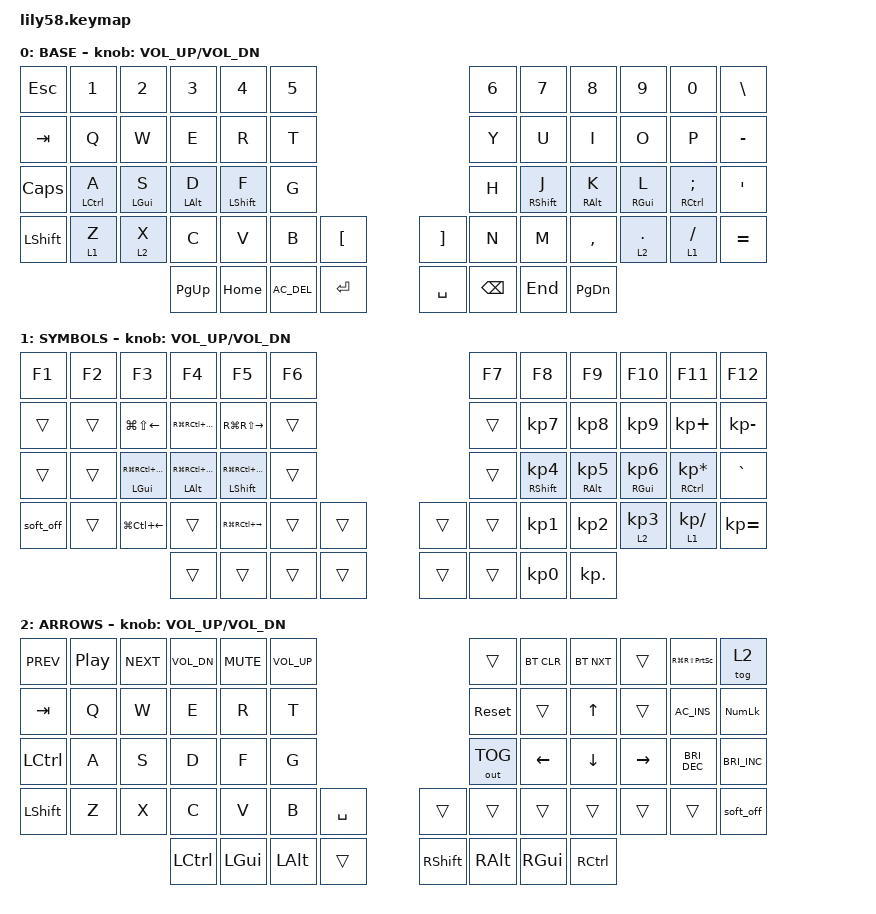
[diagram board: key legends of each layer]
/*
 * Copyright (c) 2020 The ZMK Contributors
 *
 * SPDX-License-Identifier: MIT
 */

#include <behaviors.dtsi>
#include <dt-bindings/zmk/keys.h>
#include <dt-bindings/zmk/bt.h>
#include <dt-bindings/zmk/ext_power.h>
#include <dt-bindings/zmk/outputs.h>

&soft_off {
    hold-time-ms = <2000>; // Only turn off it the key is held for 2 seconds or longer.
};

/ {
//    sensors {
//        compatible = "zmk,keymap-sensors";
//        sensors = <&left_encoder &right_encoder>;
//        triggers-per-rotation = <20>;
//    };
    behaviors {
        rpi: require_prior_idle {
            compatible = "zmk,behavior-hold-tap";
            #binding-cells = <2>;
            flavor = "tap-preferred";
            tapping-term-ms = <200>;
            quick-tap-ms = <200>;
            require-prior-idle-ms = <125>;
            bindings = <&kp>, <&kp>;
        };
    };

    combos {
        compatible = "zmk,combos";
        combo_symbols {
            timeout-ms = <50>;
            key-positions = <53 42>;
            bindings = <&tog 1>;
        };
        combo_arrows {
            timeout-ms = <50>;
            key-positions = <54 43>;
            bindings = <&tog 2>;
        };
    };

    keymap {
        compatible = "zmk,keymap";

        default_layer {
            display-name = "BASE";
            bindings = <
// |--------------------------------------------------------------------------|                         |---------------------------------------------------------------------------|
// |  ESC    |  1         |  2         |  3        |  4          |     5      |                         |  6       |    7       |  8        |  9         |   0          |    "\"    |
     &kp ESC     &kp N1     &kp N2       &kp N3       &kp N4         &kp N5                               &kp N6       &kp N7      &kp N8     &kp N9       &kp N0          &kp BSLH
// |---------|------------|------------|-----------|-------------|------------|                         |----------|------------|-----------|------------|--------------|-----------|
// |  TAB    |  Q         |  W         |  E        |  R          |     T      |                         |  Y       |    U       |  I        |  O         |   P          |    -      |
     &kp TAB   &kp Q        &kp W        &kp E       &kp R           &kp T                                &kp Y        &kp U      &kp I         &kp O        &kp P        &kp MINUS
// |---------|------------|------------|-----------|-------------|------------|                         |----------|------------|-----------|------------|--------------|-----------|
// |  CAPS   |  A & Ctrl  |  S & Super |  D & Alt  |  F & SHIFT  |     G      |                         |  H       |  J & SHIFT |  K & Alt  |  L & Super |   ; & Ctrl   |    '      |
    &kp CAPS  &rpi LCTRL A &rpi LGUI S  &rpi LALT D &rpi LSHIFT F    &kp G                                &kp H    &rpi RSHIFT J &rpi RALT K &rpi RGUI L  &rpi RCTRL SEMI &kp SQT
// |---------|------------|------------|-----------|-------------|------------|------------| |----------|----------|------------|-----------|------------|--------------|-----------|
// |  SHIFT  | Z & Lower  |  X & Upper |  C        |  V          |     B      |     "["    | |    "]"   |  N       |    M       |     ,     |  . & Upper |   / & Lower  |    =      |
   &kp LSHIFT  &lt 1 Z       &lt 2 X      &kp C         &kp V        &kp B       &kp LBKT      &kp RBKT   &kp N        &kp M     &kp COMMA    &lt 2 DOT    &lt 1 FSLH    &kp EQUAL
// |-----------------------------------|-----------|-------------|------------|------------| |----------|----------|------------|-----------|------------|--------------|-----------|
//                                     |  Page Up  |    HOME     |   DELETE   |   Enter    | |   SPACE  | BACKSPACE|   END    |  Page Down  |
                                         &kp PG_UP     &kp HOME   &kp C_AC_DEL   &kp RET      &kp SPACE   &kp BSPC   &kp END    &kp PG_DN
//                                     |---------------------------------------------------| |----------------------------------------------|
            >;

            sensor-bindings = <&inc_dec_kp C_VOL_UP C_VOL_DN>;
        };

        lower_layer {
            display-name = "SYMBOLS";
            bindings = <
// |----------------------------------------------------------------------------------------------------|                    |-----------------------------------------------------------------------------------------------------|
// |   F1    |  F2  |            F3            |           F4             |      F5         |    F6     |                    |     F7      |         F8         |      F9       |      F10      |       F11      |       F12       |
     &kp F1   &kp F2          &kp F3                     &kp F4                &kp F5           &kp F6                          &kp F7           &kp F8             &kp F9          &kp F10          &kp F11          &kp F12
// |---------|------|--------------------------|--------------------------|-----------------|-----------|                    |-------------|--------------------|---------------|---------------|----------------|-----------------|
// |         |      |      MV APP LEFT         |       MV WKSPC UP        |  MV APP RIGHT   |           |                    |             |         7          |       8       |       9       |      "+"       |       "-"       |
      &trans  &trans    &kp LG(LS(LEFT))            &kp RG(RC(RS(UP)))     &kp RG(RS(RIGHT))   &trans                           &trans          &kp KP_N7       &kp KP_N8        &kp KP_N9       &kp KP_PLUS      &kp KP_MINUS
// |---------|------|--------------------------|--------------------------|-----------------|-----------|                    |-------------|--------------------|---------------|---------------|----------------|-----------------|
// |         |      |      MV WKSPC LEFT       |      MV WKSPC DOWN       | MV WKSPC RIGHT  |           |                    |             |         4          |       5       |       6       |      "*"       |       "`"       |
      &trans  &trans &rpi LGUI RG(RC(RS(LEFT))) &rpi LALT RG(RC(RS(DOWN))) &rpi LSHIFT RG(RC(RS(RIGHT))) &trans                 &trans      &rpi RSHIFT KP_N4   &rpi RALT KP_N5 &rpi RGUI KP_N6  &rpi RCTRL KP_MULTIPLY &kp GRAVE
// |---------|------|--------------------------|--------------------------|-----------------|-----------|--------|  |--------|-------------|--------------------|---------------|---------------|----------------|-----------------|
// | SFT OFF |      |         PREV WKSPC       |                          |    NEXT WKSPC   |           |        |  |        |             |         1          |      2        |      3        |       "/"      |       "="       |
    &soft_off &trans      &kp LG(LC(LEFT))               &trans            &kp RG(RC(RIGHT))   &trans     &trans      &trans    &trans           &kp KP_N1         &kp KP_N2       &lt 2 KP_N3   &lt 1 KP_DIVIDE     &kp KP_EQUAL
// |---------|------|--------------------------|--------------------------|-----------------|-----------|--------|  |--------|-------------|--------------------|---------------|---------------|----------------|-----------------|
//                                             |                          |                 |           |        |  |        |             |          0         |      "."      |
                                                         &trans                 &trans         &trans    &trans      &trans     &trans           &kp KP_N0        &kp KP_DOT
//                                             |-----------------------------------------------------------------|  |-----------------------------------------------------------|
            >;

            sensor-bindings = <&inc_dec_kp C_VOL_UP C_VOL_DN>;
        };

        raise_layer {
            display-name = "ARROWS";
            bindings = <
// |------------------------------------------------------------------------------------|                       |--------------------------------------------------------------------------------------|
// | MediaBack |   MediaPause   |   MediaFwd   |   Volume-    |    Mute    |   Volume+  |                       |            | Clear BT |   BTNEXT  |           |      SCREENSHOT       |    RAISE     |
    &kp C_PREV  &kp C_PLAY_PAUSE   &kp C_NEXT    &kp C_VOL_DN   &kp C_MUTE  &kp C_VOL_UP                            &trans    &bt BT_CLR  &bt BT_NXT   &trans    &kp RG(RS(PRINTSCREEN))     &tog 2
// |-----------|----------------|--------------|--------------|------------|------------|                       |------------|----------|-----------|-----------|-----------------------|--------------|
// |    TAB    |       Q        |     W        |      E       |     R      |     T      |                       |   RESET    |          |    "^"    |           |         INS           |    NUMLOCK   |
      &kp TAB       &kp Q            &kp W          &kp E         &kp R         &kp T                             &sys_reset   &trans      &kp UP      &trans          &kp C_AC_INS        &kp KP_NUM
// |-----------|----------------|--------------|--------------|------------|------------|                       |------------|----------|-----------|-----------|-----------------------|--------------|
// |   CTRL    |       A        |     S        |     D        |     F      |     G      |                       |   OUT TOG  |   "<-"   |     v     |   "->"    |      DecBright        |  IncBright   |
    &kp LCTRL       &kp A            &kp S          &kp D          &kp F         &kp G                           &out OUT_TOG  &kp LEFT   &kp DOWN    &kp RIGHT      &kp C_BRI_DEC        &kp C_BRI_INC
// |-----------|----------------|--------------|--------------|------------|------------|----------| |----------|------------|----------|-----------|-----------|-----------------------|--------------|
// |   SHIFT   |     Z          |      X       |      C       |    V       |     B      |   SPACE  | |          |            |          |           |           |                       |   SFT OFF    |
    &kp LSHIFT      &kp Z            &kp X          &kp C         &kp V       &kp B       &kp SPACE     &trans      &trans      &trans      &trans       &trans          &trans             &soft_off
// |-----------|----------------|--------------|--------------|------------|------------|----------| |----------|------------|----------|-----------|-----------|-----------------------|--------------|
//                                             |     CTRL     |   Super    |   Alt      |   ENTER  | |   SHIFT  |   Alt      |  Super   |    CTRL   |
                                                   &kp LCTRL     &kp LGUI     &kp LALT     &trans     &kp RSHIFT  &kp RALT    &kp RGUI    &kp RCTRL
//                                             |---------------------------------------------------| |----------------------------------------------|
            >;

            sensor-bindings = <&inc_dec_kp C_VOL_UP C_VOL_DN>;
        };
    };
};
